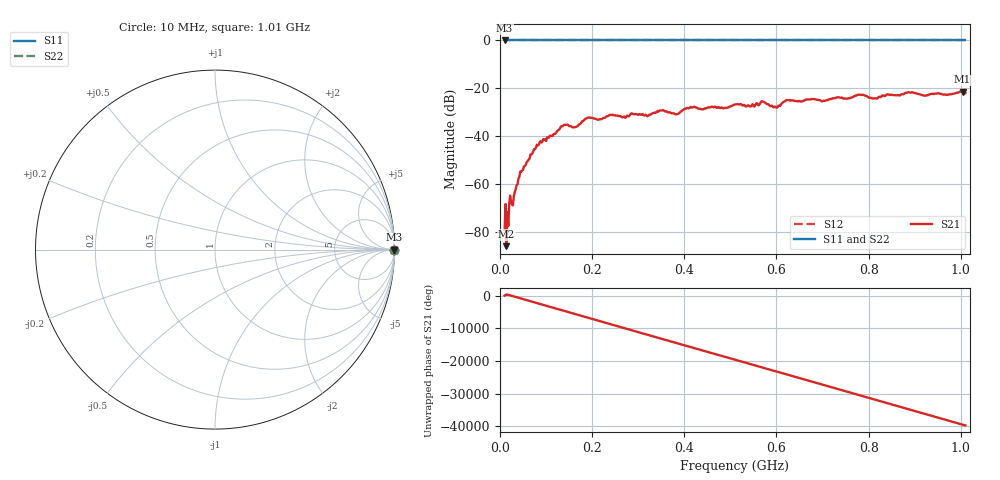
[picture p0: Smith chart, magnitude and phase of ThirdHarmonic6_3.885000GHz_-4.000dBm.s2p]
! 8/17/2025 1:37:46 PM
! C:\ANRITSUVNA\TEMP\TEMP.S2P
! CHANNEL.1
! TR.MEASUREMENT
! RAW.DATA
! RF.CORRECTION.OFF
! AVERAGING.OFF
! IF.BANDWIDTH: 5KHZ
! SWEEPTYPE:  FREQ.SWEEP(Linear)
! Reference Plane Port Info
! PORT:  PORT1  PORT2
! DISTANCE:  0  m  0  m
! TIME:  0  s  0  s
! PHASE.OFFSET:  0  deg.  0  deg.
! LOSS:  0  dB  0  dB
! REF.LOSS:  0  dB  0  dB
! REF.FREQ:  0  Hz  0  Hz
! Power Info
! POWER:  -20  dBm  -20  dBm
! EFF.POWER:  -20  dBm  -20  dBm
! SOURCE.ATTEN:  0  dB  0  dB
! TEST.ATTEN:  0  dB  0  dB
# GHZ S RI R 50.0
! FREQ.GHZ  S11RE  S11IM  S21RE  S21IM  S12RE  S12IM  S22RE  S22IM
!; PortSelection: Port_12
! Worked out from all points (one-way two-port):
!   501 points, 10 MHz to 1.01 GHz, reference 50 ohm
!   highest |S21| = -21.31 dB at 1.004 GHz (marker M1); lowest = -85.7 dB at 14 MHz (marker M2)
!   lowest |S11| = 0.0 dB at 10 MHz (marker M3)
!   |S11| at or under -10 dB: nowhere
!   |S22| runs from 0.0 to 0.0 dB; largest |S21 - S12| = 1.1
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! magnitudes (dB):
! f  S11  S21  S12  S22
! 10 MHz  0.0  -79.0  0.0  0.0
! 14 MHz  0.0  -85.7  0.0  0.0
! 20 MHz  0.0  -67.9  0.0  0.0
! 30 MHz  0.0  -64.9  0.0  0.0
! 44 MHz  0.0  -54.6  0.0  0.0
! 78 MHz  0.0  -44.7  0.0  0.0
! 136 MHz  0.0  -35.8  0.0  0.0
! 162 MHz  0.0  -36.2  0.0  0.0
! 178 MHz  0.0  -33.7  0.0  0.0
! 194 MHz  0.0  -32.1  0.0  0.0
! 322 MHz  0.0  -31.3  0.0  0.0
! 344 MHz  0.0  -29.7  0.0  0.0
! 384 MHz  0.0  -30.7  0.0  0.0
! 418 MHz  0.0  -27.9  0.0  0.0
! 510 MHz  0.0  -26.7  0.0  0.0
! 570 MHz  0.0  -25.4  0.0  0.0
! 598 MHz  0.0  -27.6  0.0  0.0
! 624 MHz  0.0  -24.8  0.0  0.0
! 678 MHz  0.0  -24.4  0.0  0.0
! 844 MHz  0.0  -22.6  0.0  0.0
! 1.004 GHz  0.0  -21.3  0.0  0.0
! 1.01 GHz  0.0  -22.0  0.0  0.0
